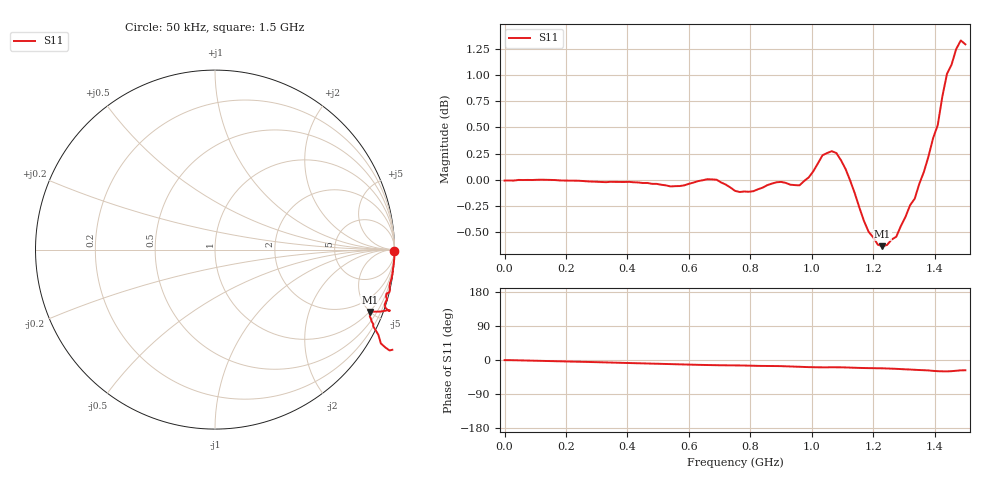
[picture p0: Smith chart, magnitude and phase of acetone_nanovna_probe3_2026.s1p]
! Touchstone S1P file exported from NanoVNA UTN Toolkit
! Device: NanoVNA-H
! Export date: 2026-10-13 12:20:12
! Frequency range: 0.050 - 1500.000 MHz
! Number of points: 101
! Parameter: S11 (Reflection)
# Hz S RI R 50
! f[Hz]  S11_real S11_imag
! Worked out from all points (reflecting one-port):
!   101 points, 50 kHz to 1.5 GHz, reference 50 ohm
!   lowest |S11| = -0.6 dB at 1.23 GHz (marker M1), VSWR 27.51, Z = 48.4 - j249 ohm
!   phase of S11 starts at -0 deg and turns -27 deg over the sweep
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50000  0.9992 -0.00618
3.0049e7  0.9991 -0.0103
1.950435e8  0.9971 -0.0651
3.750375e8  0.9895 -0.1276
5.70031e8  0.9734 -0.1974
6.60028e8  0.974 -0.2298
7.50025e8  0.9575 -0.2435
8.10023e8  0.9531 -0.2588
9.0002e8  0.9583 -0.2779
9.450185e8  0.9482 -0.299
9.90017e8  0.9491 -0.3232
1.020016e9  0.9612 -0.3361
1.065014e9  0.9747 -0.3389
1.095014e9  0.9643 -0.3376
1.140012e9  0.923 -0.3449
1.18501e9  0.8793 -0.3452
1.230009e9  0.8624 -0.3477
1.275008e9  0.8626 -0.3723
1.320006e9  0.8807 -0.4127
1.335006e9  0.8815 -0.4272
1.380004e9  0.91 -0.4743
1.395004e9  0.9184 -0.5026
1.410003e9  0.9241 -0.523
1.440002e9  0.9725 -0.5619
1.455002e9  0.9879 -0.5581
1.470001e9  1.016 -0.5483
1.485e9  1.035 -0.5344
1.5e9  1.033 -0.5288
